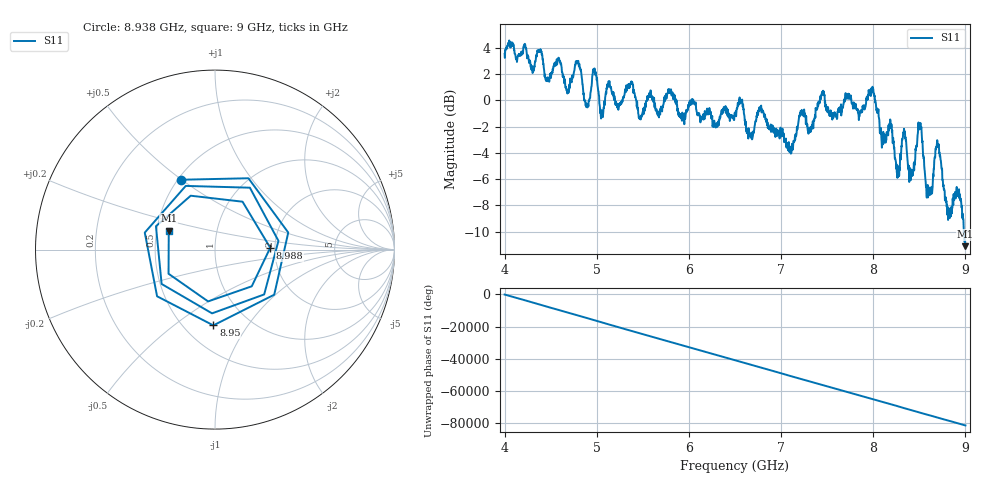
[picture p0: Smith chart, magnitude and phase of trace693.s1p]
! Created with skrf 1.8.0 (http://scikit-rf.org).
# Hz S RI R 50.0
!freq ReS11 ImS11
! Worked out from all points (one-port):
!   1601 points, 4 GHz to 9 GHz, reference 50 ohm
!   lowest |S11| = -11.1 dB at 9 GHz (marker M1), VSWR 1.77, Z = 29 + j6.67 ohm
!   |S11| at or under -10 dB: 8.98281 GHz to end of sweep
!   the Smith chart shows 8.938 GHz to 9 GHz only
!   S11 on the Smith chart (normalised r, x): 8.938 GHz: 0.52, +0.50; 8.95 GHz: 0.69, -0.71; 8.988 GHz: 1.89, +0.04; 9 GHz: 0.58, +0.13
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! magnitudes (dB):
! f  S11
! 4 GHz  3.5
! 4.625 GHz  2.2
! 5.25 GHz  -0.2
! 5.369 GHz  1.3
! 5.475 GHz  -1.5
! 5.875 GHz  -0.8
! 6.5 GHz  -1.0
! 6.569 GHz  -0.2
! 6.669 GHz  -2.7
! 6.784 GHz  -0.4
! 7.125 GHz  -3.7
! 7.447 GHz  0.6
! 7.75 GHz  0.1
! 7.991 GHz  1.0
! 8.094 GHz  -3.6
! 8.197 GHz  -1.8
! 8.262 GHz  -5.9
! 8.331 GHz  -2.5
! 8.375 GHz  -4.8
! 8.428 GHz  -5.7
! 8.506 GHz  -1.8
! 8.597 GHz  -7.3
! 8.7 GHz  -3.5
! 8.819 GHz  -8.6
! 8.938 GHz  -7.3
! 8.95 GHz  -7.5
! 8.988 GHz  -10.2
! 9 GHz  -11.1
